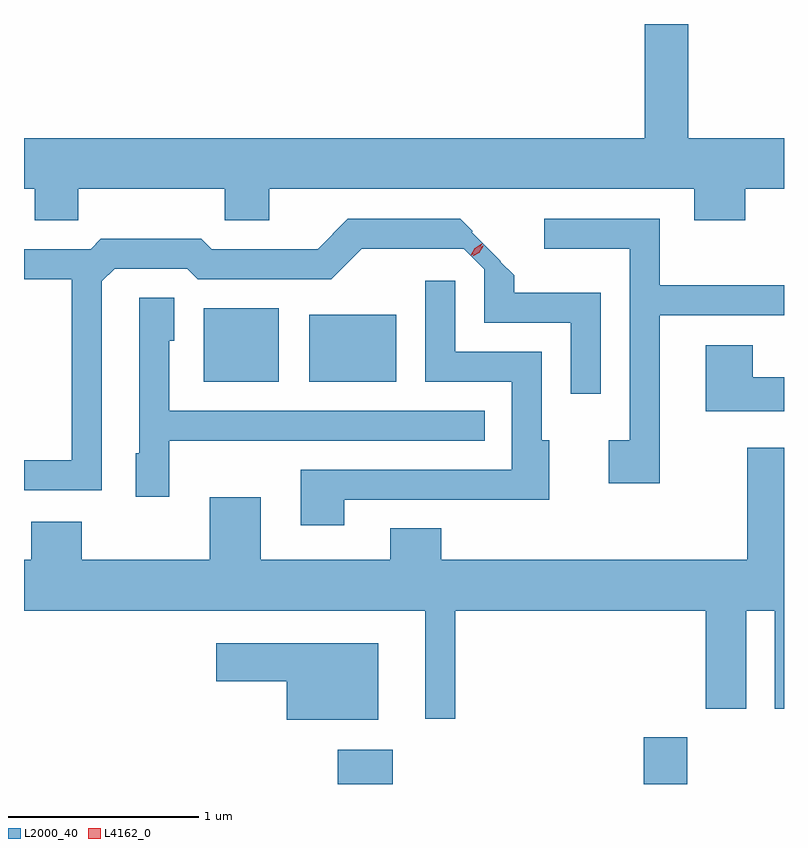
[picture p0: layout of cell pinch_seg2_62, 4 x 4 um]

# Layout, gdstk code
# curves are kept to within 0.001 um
import gdstk
lib = gdstk.Library(unit=1e-6, precision=1e-09)
def R(c, l, rs):  # rectangles x0, y0, x1, y1
    for r in rs: c.add(gdstk.rectangle(r[:2], r[2:], *l))
def P(c, l, *ps):  # polygons
    for p in ps: c.add(gdstk.Polygon(p, *l))
L2000_40 = (2000, 40)
L4162_0 = (4162, 0)

pinch_seg2_62 = lib.new_cell('pinch_seg2_62')
R(pinch_seg2_62, L2000_40, [(1246.746,991.904,1247.034,992.084), (1248.356,991.904,1248.584,992.149), (1246.041,994.021,1246.434,994.409), (1246.596,994.021,1247.054,994.374)])
P(pinch_seg2_62, L2000_40, [(1245.379,995.036),(1246.151,995.036),(1246.151,994.871),(1246.384,994.871),(1246.384,995.036),(1248.621,995.036),(1248.621,994.871),(1248.889,994.871),(1248.889,995.036),(1249.094,995.036),(1249.094,995.304),(1248.589,995.304),(1248.589,995.904),(1248.361,995.904),(1248.361,995.304),(1245.094,995.304),(1245.094,995.036),(1245.151,995.036),(1245.151,994.871),(1245.379,994.871)],
  [(1248.439,994.371),(1249.094,994.371),(1249.094,994.529),(1248.439,994.529),(1248.439,994.879),(1247.833,994.879),(1247.833,994.721),(1248.281,994.721),(1248.281,993.714),(1248.171,993.714),(1248.171,993.486),(1248.439,993.486)],
  [(1245.504,994.549),(1245.572,994.616),(1245.954,994.616),(1246.009,994.561),(1246.712,994.561),(1246.872,994.721),(1247.408,994.722),(1247.517,994.613),(1247.516,994.331),(1247.971,994.331),(1247.971,993.958),(1248.129,993.958),(1248.129,994.489),(1247.674,994.489),(1247.674,994.581),(1247.45,994.807),(1247.456,994.814),(1247.391,994.879),(1246.799,994.879),(1246.639,994.719),(1246.082,994.719),(1246.027,994.774),(1245.499,994.774),(1245.444,994.719),(1245.094,994.719),(1245.094,994.561),(1245.346,994.561),(1245.346,993.609),(1245.094,993.609),(1245.094,993.451),(1245.504,993.451)],
  [(1246.779,993.401),(1247.859,993.401),(1247.859,993.714),(1247.819,993.714),(1247.819,994.179),(1247.364,994.179),(1247.364,994.553),(1247.206,994.553),(1247.206,994.021),(1247.661,994.021),(1247.661,993.559),(1246.551,993.559),(1246.551,993.266),(1246.779,993.266)],
  [(1245.859,993.711),(1247.518,993.711),(1247.518,993.869),(1245.859,993.869),(1245.859,994.236),(1245.884,994.236),(1245.884,994.464),(1245.701,994.464),(1245.701,993.644),(1245.681,993.644),(1245.681,993.416),(1245.859,993.416)],
  [(1249.094,994.044),(1248.929,994.044),(1248.929,994.214),(1248.681,994.214),(1248.681,993.866),(1249.094,993.866)],
  [(1247.364,992.816),(1248.681,992.816),(1248.681,992.301),(1248.894,992.301),(1248.894,992.816),(1249.046,992.816),(1249.046,992.301),(1249.094,992.301),(1249.094,993.674),(1248.901,993.674),(1248.901,993.084),(1247.289,993.084),(1247.289,993.249),(1247.021,993.249),(1247.021,993.084),(1246.339,993.084),(1246.339,993.414),(1246.071,993.414),(1246.071,993.084),(1245.399,993.084),(1245.399,993.284),(1245.131,993.284),(1245.131,993.084),(1245.094,993.084),(1245.094,992.816),(1247.206,992.816),(1247.206,992.248),(1247.364,992.248)],
  [(1246.959,992.644),(1246.106,992.644),(1246.106,992.446),(1246.476,992.446),(1246.476,992.241),(1246.959,992.241)])
P(pinch_seg2_62, L4162_0, [(1247.456,994.681),(1247.456,994.682),(1247.476,994.715),(1247.509,994.736),(1247.51,994.736),(1247.51,994.735),(1247.49,994.701),(1247.456,994.681)],
  [(1247.444,994.685),(1247.444,994.686),(1247.467,994.724),(1247.505,994.749),(1247.505,994.749),(1247.505,994.748),(1247.482,994.71),(1247.444,994.685)])

lib.write_gds('pinch_seg2_62.gds')
